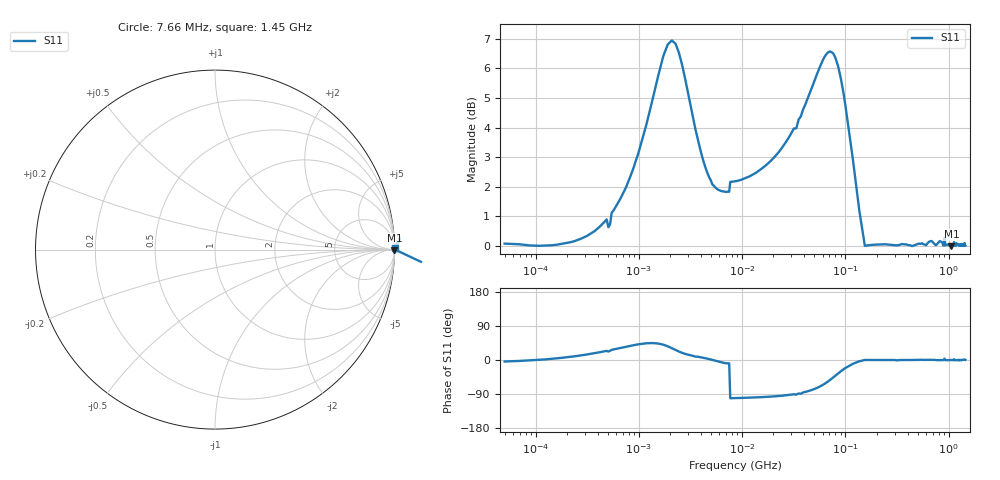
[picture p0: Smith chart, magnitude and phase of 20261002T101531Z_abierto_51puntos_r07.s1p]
! piloto_saltos / abierto_51puntos / r07
# HZ S RI R 50
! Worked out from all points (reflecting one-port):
!   251 points, 50 kHz to 1.45 GHz, reference 50 ohm
!   lowest |S11| = 0.0 dB at 1.063 GHz (marker M1)
!   phase of S11 starts at -4 deg and turns +5 deg over the sweep
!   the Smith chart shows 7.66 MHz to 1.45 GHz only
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50000  1.007 -0.0696
183000  1.004 0.1057
506000  0.9953 0.4074
658000  1.021 0.6294
1180000  1.15 1.116
1720000  1.592 1.357
2080000  1.899 1.157
2440000  1.96 0.8046
3520000  1.556 0.2433
5140000  1.271 0.00525
7480000  1.219 -0.1936
7660000  -0.2421 -1.26
8560000  -0.2338 -1.265
1.72e7  -0.175 -1.36
3.16e7  -0.0123 -1.579
3.7e7  0.0282 -1.655
4.78e7  0.3668 -1.823
6.4e7  1.005 -1.84
7.48e7  1.427 -1.568
8.56e7  1.644 -1.136
9.64e7  1.642 -0.7298
1.18e8  1.378 -0.2445
1.54e8  1.001 0.00114
4.06e8  1.004 0.000558
8.74e8  1.01 -0.00564
9.1e8  1.03 0.0631
1.063e9  0.9991 -0.00343
1.45e9  1.002 0.0104
